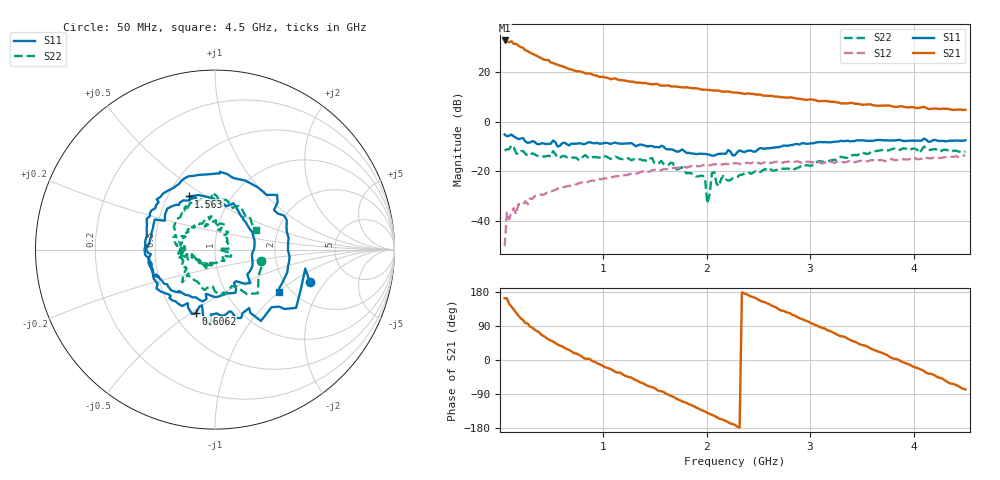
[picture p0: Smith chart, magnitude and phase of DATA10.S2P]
! Network Analyzer HP8722ES.07.74: Oct 30, 2002 Serial No. US39175660
! Hewlett-Packard
! 30 May 2012  17:53:32
! Frequency  S11  S21  S12  S22
# HZ  S  DB R  50
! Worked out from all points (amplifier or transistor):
!   201 points, 50 MHz to 4.5 GHz, reference 50 ohm
!   highest |S21| = 32.9 dB at 50 MHz (marker M1)
!   |S21| within 3 dB of that: start of sweep to 228.6 MHz
!   unconditionally stable (mu >= 1): start of sweep to 70.85 MHz; 1.315 GHz to 1.324 GHz; 1.594 GHz to end of sweep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
!   at 784.2 MHz: K = 0.94, MSG = 22.4 dB, |S12| = -24.4 dB
!   at 2.275 GHz: K = 1.13, MAG = 12.1 dB, |S12| = -16.6 dB
!   at 4.5 GHz: K = 1.21, MAG = 6.4 dB, |S12| = -13.4 dB
!   S11 on the Smith chart (normalised r, x): 50 MHz: 2.70, -1.41; 606.2 MHz: 0.64, -0.53; 1.563 GHz: 0.64, +0.42; 4.5 GHz: 1.74, -1.00
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5e7  -5.07 -18.8  32.89 163.2  -50.15 -59.0  -11.53 -13.5
7.225e7  -5.78 -11.9  32.38 162.8  -36.55 32.7  -11.08 -10.2
9.45e7  -5.53 -26.0  32.24 147.8  -39.26 53.9  -10.97 -30.9
1.1675e8  -5.09 -35.7  32.54 140.8  -36.11 43.6  -9.35 -45.6
1.39e8  -5.87 -40.5  31.53 132.7  -34.84 35.6  -10.32 -54.4
1.6125e8  -6.43 -41.7  31.50 124.2  -37.21 29.8  -12.62 -60.6
2.0575e8  -6.70 -53.4  30.23 110.0  -33.51 35.9  -11.83 -77.1
2.28e8  -6.50 -57.2  29.92 105.7  -33.38 36.3  -11.78 -83.6
2.5025e8  -7.89 -60.8  28.93 97.4  -31.98 39.0  -12.76 -90.5
2.725e8  -8.46 -59.6  28.64 96.6  -33.20 32.2  -13.67 -93.2
2.9475e8  -8.26 -66.7  27.99 88.1  -30.84 34.3  -13.31 -101.4
4.7275e8  -8.81 -93.0  25.00 54.8  -28.14 18.4  -13.57 -135.6
6.0625e8  -8.61 -106.6  22.53 35.6  -26.37 7.5  -13.81 -150.9
8.065e8  -8.95 -133.7  20.05 6.8  -24.45 -12.2  -14.03 -166.8
1.118e9  -8.31 179.7  17.56 -31.3  -21.99 -39.3  -13.97 158.2
1.54075e9  -10.31 110.1  15.02 -81.6  -19.55 -83.8  -16.67 103.4
1.563e9  -9.62 116.4  14.61 -82.4  -19.40 -86.3  -15.72 88.0
1.919e9  -12.93 28.7  13.49 -127.6  -17.93 -124.9  -22.01 31.0
2.275e9  -13.41 -60.5  11.88 -171.4  -16.65 -164.4  -22.51 -85.7
3.0315e9  -8.60 -173.2  8.94 94.6  -16.35 116.7  -17.39 -162.2
3.76575e9  -7.51 96.0  6.61 8.9  -15.17 50.9  -11.43 135.2
4.5e9  -7.40 -33.5  4.86 -77.5  -13.43 -20.1  -11.93 25.9
